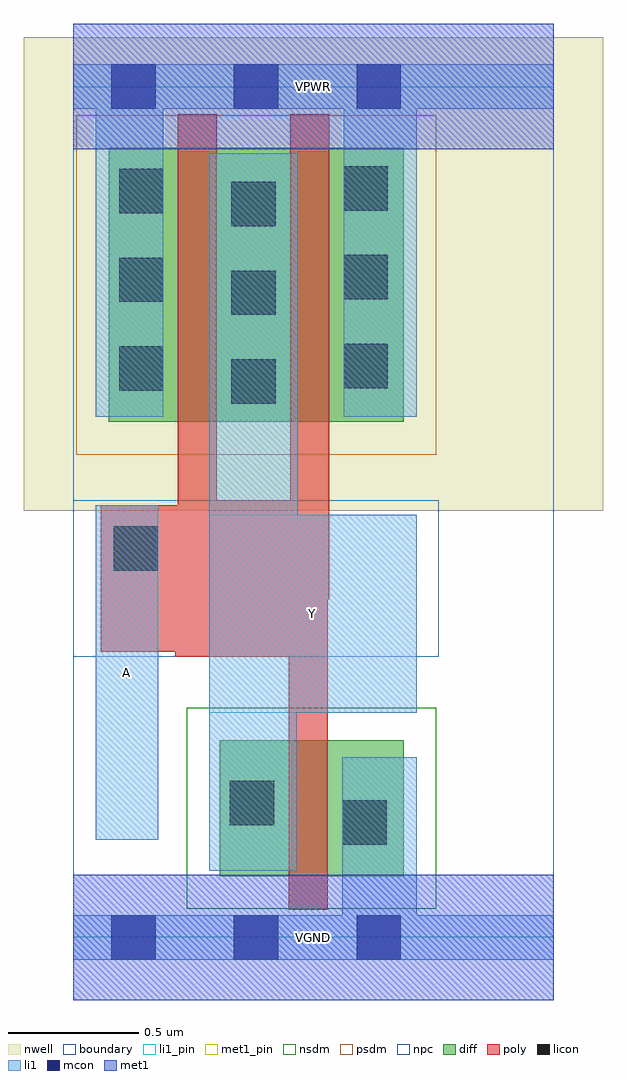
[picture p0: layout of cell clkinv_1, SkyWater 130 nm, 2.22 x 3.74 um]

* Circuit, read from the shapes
.subckt clkinv_1 A VGND VPWR Y
XM1 VGND A Y VSUBS sky130_fd_pr__nfet_01v8 w=0.52 l=0.15
XM2 Y A VPWR n1 sky130_fd_pr__pfet_01v8 w=1.05 l=0.15 m=2
.ends

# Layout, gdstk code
import gdstk
lib = gdstk.Library(unit=1e-6, precision=1e-09)
def R(c, l, rs):  # rectangles x0, y0, x1, y1
    for r in rs: c.add(gdstk.rectangle(r[:2], r[2:], *l))
def A(c, l, x, y, w, h, nx, ny, dx, dy):  # array of equal rectangles
    R(c, l, [(x+i*dx, y+j*dy, x+i*dx+w, y+j*dy+h) for i in range(nx) for j in range(ny)])
nwell = (64, 20)
diff = (65, 20)
poly = (66, 20)
licon = (66, 44)
li1_pin = (67, 16)
li1 = (67, 20)
mcon = (67, 44)
met1_pin = (68, 16)
met1 = (68, 20)
nsdm = (93, 44)
psdm = (94, 20)
npc = (95, 20)
boundary = (235, 4)

clkinv_1 = lib.new_cell('clkinv_1')
R(clkinv_1, nwell, [(-0.19,1.635,2.03,3.45), (0,1.635,1.84,3.45)])
R(clkinv_1, diff, [(0.56,0.235,1.265,0.755), (0.135,1.975,1.265,3.025)])
R(clkinv_1, poly, [(0.825,0.105,0.83,1.675), (0.83,0.105,0.975,3.155), (0.39,1.075,0.975,1.295), (0.4,1.075,0.55,3.155), (0.4,1.075,0.825,1.675), (0.105,1.095,0.975,1.655), (0.83,1.295,0.98,3.155)])
A(clkinv_1, licon, 0.605, 2.045, 0.17, 0.17, 1, 3, 0, 0.34)
A(clkinv_1, licon, 0.175, 2.095, 0.17, 0.17, 1, 3, 0, 0.34)
A(clkinv_1, licon, 1.035, 2.105, 0.17, 0.17, 1, 3, 0, 0.34)
R(clkinv_1, licon, [(1.03,0.355,1.2,0.525), (0.6,0.43,0.77,0.6), (0.155,1.405,0.325,1.575)])
R(clkinv_1, li1_pin, [(0.085,0.375,0.325,1.655), (0.52,0.86,1.315,1.62)])
R(clkinv_1, li1, [(0,-0.085,1.84,0.085), (1.03,-0.085,1.315,0.69), (0.52,0.255,0.855,3.005), (0.085,0.375,0.325,1.655), (0.52,0.86,1.315,1.62), (0.52,0.86,0.86,3.005), (0.085,1.995,0.345,3.345), (1.035,1.995,1.315,3.345), (0,3.175,1.84,3.345)])
A(clkinv_1, mcon, 0.145, -0.085, 0.17, 0.17, 3, 2, 0.47, 3.26)
R(clkinv_1, met1_pin, [(0,-0.24,1.84,0.24), (0,3.02,1.84,3.5)])
R(clkinv_1, met1, [(0,-0.24,1.84,0.24), (0,3.02,1.84,3.5)])
R(clkinv_1, nsdm, [(0.435,0.11,1.39,0.88)])
R(clkinv_1, psdm, [(0.01,1.85,1.39,3.15)])
R(clkinv_1, npc, [(0,1.075,1.4,1.675)])
R(clkinv_1, boundary, [(0,0,1.84,3.26)])
clkinv_1.add(gdstk.Label('A', (0.205,1.015), layer=67, texttype=5))
clkinv_1.add(gdstk.Label('Y', (0.917,1.24), layer=67, texttype=5))
clkinv_1.add(gdstk.Label('VPWR', (0.92,3.26), layer=68, texttype=5))
clkinv_1.add(gdstk.Label('VGND', (0.92,0), layer=68, texttype=5))
clkinv_1.add(gdstk.Label('A', (0.205,1.015), layer=67, texttype=16))
clkinv_1.add(gdstk.Label('Y', (0.917,1.24), layer=67, texttype=16))
clkinv_1.add(gdstk.Label('VPWR', (0.92,3.26), layer=68, texttype=16))
clkinv_1.add(gdstk.Label('VGND', (0.92,0), layer=68, texttype=16))

lib.write_gds('clkinv_1.gds')
